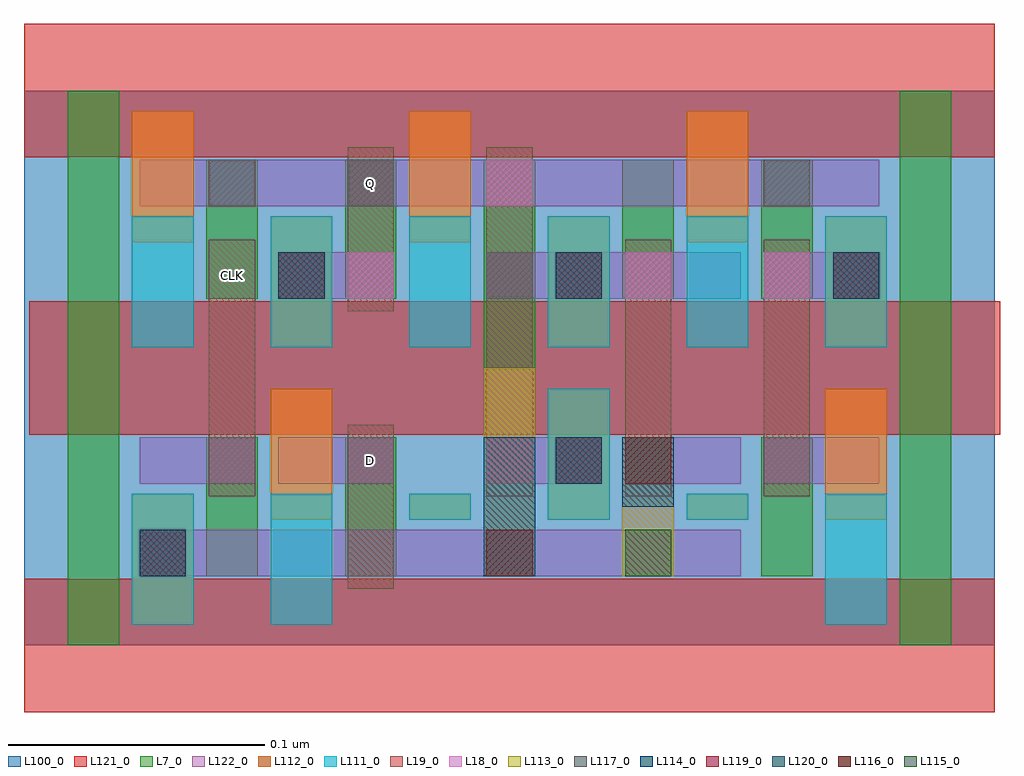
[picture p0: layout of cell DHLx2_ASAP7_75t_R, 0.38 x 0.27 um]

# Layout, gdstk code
import gdstk
lib = gdstk.Library(unit=1e-6, precision=2.5e-10)
def R(c, l, rs):  # rectangles x0, y0, x1, y1
    for r in rs: c.add(gdstk.rectangle(r[:2], r[2:], *l))
def A(c, l, x, y, w, h, nx, ny, dx, dy):  # array of equal rectangles
    R(c, l, [(x+i*dx, y+j*dy, x+i*dx+w, y+j*dy+h) for i in range(nx) for j in range(ny)])
L7_0 = (7, 0)
L18_0 = (18, 0)
L19_0 = (19, 0)
L100_0 = (100, 0)
L111_0 = (111, 0)
L112_0 = (112, 0)
L113_0 = (113, 0)
L114_0 = (114, 0)
L115_0 = (115, 0)
L116_0 = (116, 0)
L117_0 = (117, 0)
L119_0 = (119, 0)
L120_0 = (120, 0)
L121_0 = (121, 0)
L122_0 = (122, 0)

dhlx2_asap7_75t_r = lib.new_cell('DHLx2_ASAP7_75t_R')
R(dhlx2_asap7_75t_r, L7_0, [(0.017,0,0.037,0.108), (0.341,0,0.361,0.108), (0.071,0.027,0.091,0.081), (0.125,0.027,0.145,0.081), (0.287,0.027,0.307,0.081), (0.017,0.108,0.037,0.216), (0.179,0.108,0.199,0.189), (0.341,0.108,0.361,0.216), (0.071,0.135,0.091,0.189), (0.125,0.135,0.145,0.189), (0.233,0.135,0.253,0.189), (0.287,0.135,0.307,0.189)])
A(dhlx2_asap7_75t_r, L18_0, 0.072, 0.063, 0.018, 0.018, 5, 1, 0.054, 0)
R(dhlx2_asap7_75t_r, L18_0, [(0.126,0.135,0.144,0.153), (0.234,0.135,0.252,0.153), (0.288,0.135,0.306,0.153), (0.18,0.171,0.198,0.189)])
R(dhlx2_asap7_75t_r, L19_0, [(0.126,0.022,0.144,0.086), (0.072,0.058,0.09,0.158), (0.18,0.058,0.198,0.194), (0.234,0.058,0.252,0.158), (0.288,0.058,0.306,0.158), (0.126,0.13,0.144,0.194)])
R(dhlx2_asap7_75t_r, L100_0, [(0,0,0.378,0.216)])
A(dhlx2_asap7_75t_r, L111_0, 0.042, 0.116, 0.024, 0.051, 6, 1, 0.054, 0)
R(dhlx2_asap7_75t_r, L111_0, [(0.042,0.008,0.066,0.059), (0.096,0.008,0.12,0.059), (0.312,0.008,0.336,0.059), (0.15,0.049,0.174,0.059), (0.204,0.049,0.228,0.1), (0.258,0.049,0.282,0.059)])
A(dhlx2_asap7_75t_r, L112_0, 0.096, 0.049, 0.024, 0.051, 3, 2, 0.108, 0.067)
A(dhlx2_asap7_75t_r, L112_0, 0.042, 0.157, 0.024, 0.051, 3, 1, 0.108, 0)
R(dhlx2_asap7_75t_r, L112_0, [(0.042,0.008,0.066,0.059), (0.15,0.049,0.174,0.059), (0.258,0.049,0.282,0.059)])
R(dhlx2_asap7_75t_r, L113_0, [(0.179,0.027,0.199,0.108), (0.233,0.027,0.253,0.081)])
R(dhlx2_asap7_75t_r, L114_0, [(0.179,0.027,0.199,0.081), (0.233,0.054,0.253,0.081)])
R(dhlx2_asap7_75t_r, L115_0, [(0.234,0.027,0.252,0.045)])
R(dhlx2_asap7_75t_r, L116_0, [(0.18,0.027,0.198,0.045), (0.234,0.063,0.252,0.081)])
R(dhlx2_asap7_75t_r, L117_0, [(0.072,0.063,0.09,0.081), (0.126,0.063,0.144,0.081), (0.288,0.063,0.306,0.081), (0.18,0.135,0.198,0.153), (0.072,0.171,0.09,0.189), (0.126,0.171,0.144,0.189), (0.288,0.171,0.306,0.189)])
A(dhlx2_asap7_75t_r, L119_0, 0.099, 0.135, 0.018, 0.018, 3, 1, 0.108, 0)
R(dhlx2_asap7_75t_r, L119_0, [(0.045,0.027,0.063,0.045), (0.207,0.063,0.225,0.081)])
A(dhlx2_asap7_75t_r, L120_0, 0.099, 0.135, 0.018, 0.018, 3, 1, 0.108, 0)
R(dhlx2_asap7_75t_r, L120_0, [(0.045,0.027,0.063,0.045), (0.207,0.063,0.225,0.081)])
R(dhlx2_asap7_75t_r, L121_0, [(0,-0.026,0.378,0.026), (0.002,0.082,0.38,0.134), (0,0.19,0.378,0.242)])
A(dhlx2_asap7_75t_r, L122_0, 0.18, 0.063, 0.045, 0.018, 3, 1, 0.054, 0)
R(dhlx2_asap7_75t_r, L122_0, [(0.045,0.027,0.279,0.045), (0.045,0.063,0.09,0.081), (0.099,0.063,0.144,0.081), (0.099,0.135,0.144,0.153), (0.18,0.135,0.279,0.153), (0.288,0.135,0.333,0.153), (0.045,0.171,0.333,0.189)])
dhlx2_asap7_75t_r.add(gdstk.Label('Q', (0.135,0.18), layer=19, texttype=251))
dhlx2_asap7_75t_r.add(gdstk.Label('D', (0.135,0.072), layer=19, texttype=251))
dhlx2_asap7_75t_r.add(gdstk.Label('CLK', (0.081,0.144), layer=19, texttype=251))

lib.write_gds('DHLx2_ASAP7_75t_R.gds')
